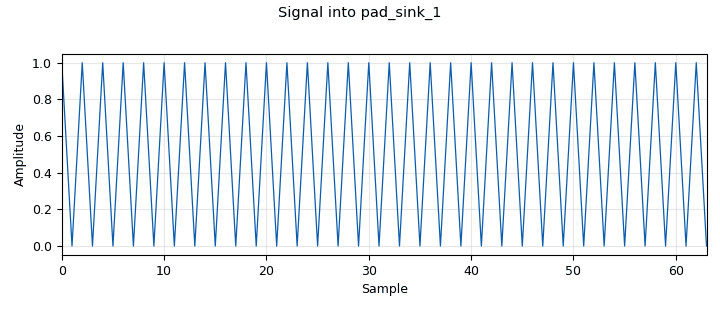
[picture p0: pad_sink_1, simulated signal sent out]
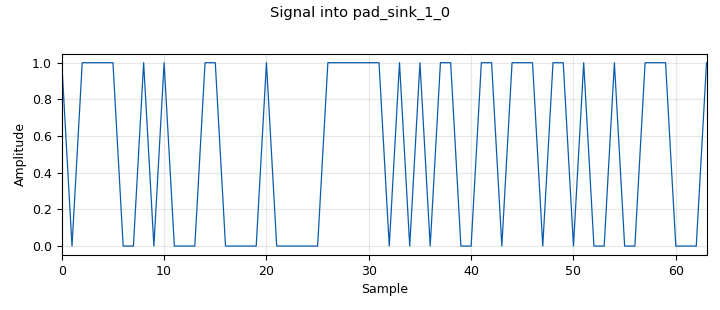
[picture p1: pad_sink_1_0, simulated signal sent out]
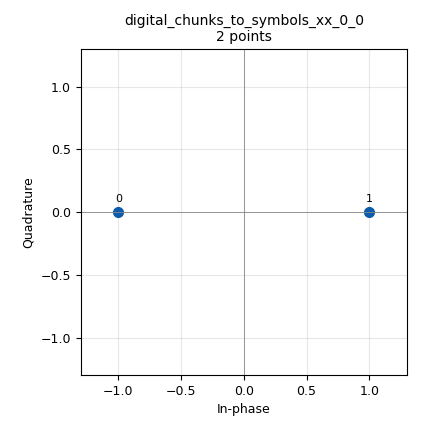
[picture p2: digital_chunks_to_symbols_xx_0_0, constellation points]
options:
  parameters:
    category: WES Packet
    generate_options: hb
    id: wes_packet_tx
    output_language: python
  states: {}

blocks:
- name: const
  id: variable_constellation
  parameters:
    const_points: digital.psk_4()[0]
    dims: '1'
    precision: '8'
    rot_sym: '2'
    sym_map: digital.psk_4()[1]
    type: calcdist
  states: {}
- name: cw
  id: variable
  parameters:
    value: 'int((cw_len/4))*[1,0,1,0] '
  states: {}
- name: diff_mod
  id: variable
  parameters:
    value: '4'
  states: {}
- name: header_formatter
  id: variable
  parameters:
    value: digital.packet_header_default(header_len, len_tag_key,num_tag_key,1)
  states: {}
- name: header_len
  id: variable
  parameters:
    value: '32'
  states: {}
- name: len_tag_key
  id: variable
  parameters:
    value: '"packet_length"'
  states: {}
- name: num_tag_key
  id: variable
  parameters:
    value: '"packet_num"'
  states: {}
- name: pi
  id: variable
  parameters:
    value: '3.141592654'
  states: {}
- name: sym_table
  id: variable
  parameters:
    value: '[-1, 1]'
  states: {}
- name: sync_len
  id: variable
  parameters:
    value: '63'
  states: {}
- name: sync_seq
  id: variable
  parameters:
    value: '[1, 1, -1, 1, -1, 1, 1, 1, -1, -1, 1, -1, -1, -1, 1, -1, -1, 1, 1, -1, 1, 1, -1, -1, -1, -1, 1, 1, -1, -1, 1, 1, 1, -1, -1, 1, 1, 1, -1, -1, 1, -1, -1, 1, -1, 1, -1, 1, -1, -1, -1, 1, -1, 1, 1, -1, -1, -1, 1, 1, 1, 1, 1, 1] '
  states: {}
- name: tag0
  id: variable_tag_object
  parameters:
    key: pmt.intern(len_tag_key)
    offset: '0'
    src: pmt.intern("vect_cw_src")
    value: pmt.from_long(cw_len)
  states: {}
- name: tag1
  id: variable_tag_object
  parameters:
    key: pmt.intern(len_tag_key)
    offset: '0'
    src: pmt.intern("vect_preamble_src")
    value: pmt.from_long(len(preamble))
  states: {state: disabled}
- name: tag_pr
  id: variable_tag_object
  parameters:
    key: pmt.intern(len_tag_key)
    offset: '0'
    src: pmt.intern("vect_test_src")
    value: pmt.from_long(256)
  states: {state: disabled}
- name: tag_s
  id: variable_tag_object
  parameters:
    key: pmt.intern(len_tag_key)
    offset: '0'
    src: pmt.intern("vect_test_src")
    value: pmt.from_long(payload_len)
  states: {}
- name: throttle_rate
  id: variable
  parameters:
    value: 100e3
  states: {}
- name: blocks_ctrlport_monitor_performance_0
  id: blocks_ctrlport_monitor_performance
  parameters:
    en: 'True'
  states: {state: disabled}
- name: blocks_repack_bits_bb_0
  id: blocks_repack_bits_bb
  parameters:
    comment: Must do this, otherwise the header will be toooo long
    endianness: gr.GR_LSB_FIRST
    k: '1'
    l: '1'
    len_tag_key: '"packet_length"'
  states: {}
- name: blocks_stream_to_tagged_stream_0
  id: blocks_stream_to_tagged_stream
  parameters:
    len_tag_key: len_tag_key
    packet_len: header_len
    type: byte
  states: {}
- name: blocks_stream_to_tagged_stream_0_0_0
  id: blocks_stream_to_tagged_stream
  parameters:
    len_tag_key: len_tag_key
    packet_len: payload_len
    type: byte
  states: {}
- name: blocks_stream_to_tagged_stream_1
  id: blocks_stream_to_tagged_stream
  parameters:
    len_tag_key: '"packet_length"'
    packet_len: sync_len
    type: byte
  states: {}
- name: blocks_tag_gate_0
  id: blocks_tag_gate
  parameters:
    propagate_tags: 'False'
    type: byte
  states: {}
- name: blocks_tagged_stream_mux_0
  id: blocks_tagged_stream_mux
  parameters:
    lengthtagname: len_tag_key
    ninputs: '4'
    type: byte
  states: {}
- name: blocks_vector_source_x_0_0
  id: blocks_vector_source_x
  parameters:
    repeat: 'True'
    tags: '[tag0]'
    type: byte
    vector: cw
  states: {}
- name: cw_len
  id: parameter
  parameters:
    label: CW Length
    value: '64'
  states: {}
- name: digital_chunks_to_symbols_xx_0_0
  id: digital_chunks_to_symbols_xx
  parameters:
    dimension: '1'
    in_type: byte
    out_type: complex
    symbol_table: (-1,1)
  states: {}
- name: digital_diff_encoder_bb_0
  id: digital_diff_encoder_bb
  parameters:
    modulus: '2'
  states: {}
- name: digital_diff_encoder_bb_0_0
  id: digital_diff_encoder_bb
  parameters:
    modulus: '2'
  states: {}
- name: digital_glfsr_source_x_0
  id: digital_glfsr_source_x
  parameters:
    degree: '6'
    mask: '0'
    repeat: 'True'
    seed: '1'
    type: byte
  states: {}
- name: digital_packet_headergenerator_bb_0_0
  id: digital_packet_headergenerator_bb
  parameters:
    header_formatter: header_formatter.formatter()
    len_tag_key: len_tag_key
  states: {}
- name: import_0
  id: import
  parameters:
    imports: import math
  states: {}
- name: import_1
  id: import
  parameters:
    imports: import pmt
  states: {}
- name: pad_sink_0
  id: pad_sink
  parameters:
    label: PHY_Output
    type: complex
  states: {}
- name: pad_sink_1
  id: pad_sink
  parameters:
    label: preamble_out
    optional: 'True'
    type: byte
  states: {}
- name: pad_sink_1_0
  id: pad_sink
  parameters:
    label: sync_out
    optional: 'True'
    type: byte
  states: {}
- name: pad_sink_1_0_0
  id: pad_sink
  parameters:
    label: payload_out
    optional: 'True'
    type: byte
  states: {}
- name: pad_sink_1_1
  id: pad_sink
  parameters:
    label: header_out
    optional: 'True'
    type: byte
  states: {}
- name: pad_sink_2
  id: pad_sink
  parameters:
    label: header_uncoded_out
    optional: 'True'
    type: byte
  states: {}
- name: pad_source_0
  id: pad_source
  parameters:
    label: Byte IN
    type: byte
  states: {}
- name: payload_len
  id: parameter
  parameters:
    label: Payload Length
    value: '255'
  states: {}
- name: samp_rate
  id: parameter
  parameters:
    label: Sample Rate
    type: eng_float
    value: 1e6
  states: {}
- name: virtual_sink_0
  id: virtual_sink
  parameters:
    stream_id: preamble_sink
  states: {}
- name: virtual_sink_0_0
  id: virtual_sink
  parameters:
    stream_id: packet_sink
  states: {}
- name: virtual_sink_1
  id: virtual_sink
  parameters:
    stream_id: sync_sink
  states: {}
- name: virtual_sink_2
  id: virtual_sink
  parameters:
    stream_id: header_sink
  states: {}
- name: virtual_sink_3
  id: virtual_sink
  parameters:
    stream_id: payload_sink
  states: {}
- name: virtual_source_0
  id: virtual_source
  parameters:
    stream_id: sync_sink
  states: {}
- name: virtual_source_1
  id: virtual_source
  parameters:
    stream_id: preamble_sink
  states: {}
- name: virtual_source_2
  id: virtual_source
  parameters:
    stream_id: header_sink
  states: {}
- name: virtual_source_3
  id: virtual_source
  parameters:
    stream_id: payload_sink
  states: {}
- name: virtual_source_4
  id: virtual_source
  parameters:
    stream_id: packet_sink
  states: {}

connections:
- [blocks_repack_bits_bb_0, '0', pad_sink_2, '0']
- [blocks_repack_bits_bb_0, '0', virtual_sink_2, '0']
- [blocks_stream_to_tagged_stream_0, '0', blocks_repack_bits_bb_0, '0']
- [blocks_stream_to_tagged_stream_0_0_0, '0', digital_packet_headergenerator_bb_0_0, '0']
- [blocks_stream_to_tagged_stream_0_0_0, '0', virtual_sink_3, '0']
- [blocks_stream_to_tagged_stream_1, '0', virtual_sink_1, '0']
- [blocks_tag_gate_0, '0', blocks_stream_to_tagged_stream_0, '0']
- [blocks_tagged_stream_mux_0, '0', virtual_sink_0_0, '0']
- [blocks_vector_source_x_0_0, '0', virtual_sink_0, '0']
- [digital_chunks_to_symbols_xx_0_0, '0', pad_sink_0, '0']
- [digital_diff_encoder_bb_0, '0', blocks_tagged_stream_mux_0, '2']
- [digital_diff_encoder_bb_0, '0', pad_sink_1_1, '0']
- [digital_diff_encoder_bb_0_0, '0', blocks_tagged_stream_mux_0, '3']
- [digital_diff_encoder_bb_0_0, '0', pad_sink_1_0_0, '0']
- [digital_glfsr_source_x_0, '0', blocks_stream_to_tagged_stream_1, '0']
- [digital_packet_headergenerator_bb_0_0, '0', blocks_tag_gate_0, '0']
- [pad_source_0, '0', blocks_stream_to_tagged_stream_0_0_0, '0']
- [virtual_source_0, '0', blocks_tagged_stream_mux_0, '1']
- [virtual_source_0, '0', pad_sink_1_0, '0']
- [virtual_source_1, '0', blocks_tagged_stream_mux_0, '0']
- [virtual_source_1, '0', pad_sink_1, '0']
- [virtual_source_2, '0', digital_diff_encoder_bb_0, '0']
- [virtual_source_3, '0', digital_diff_encoder_bb_0_0, '0']
- [virtual_source_4, '0', digital_chunks_to_symbols_xx_0_0, '0']

metadata:
  file_format: 1
